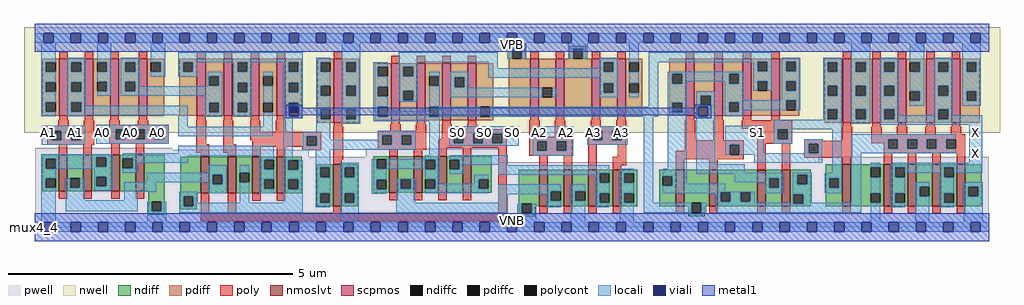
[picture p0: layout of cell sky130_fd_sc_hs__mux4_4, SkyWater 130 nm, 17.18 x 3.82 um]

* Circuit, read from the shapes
.subckt sky130_fd_sc_hs__mux4_4 A0 A1 A2 A3 S0 S1 VGND VNB VPB VPWR X
XM1 n1 A1 VGND VNB sky130_fd_pr__nfet_01v8_lvt w=0.64 l=0.15 m=2
XM2 n2 A0 VGND VNB sky130_fd_pr__nfet_01v8_lvt w=0.64 l=0.15 m=2
XM3 n1 S0 n3 VNB sky130_fd_pr__nfet_01v8_lvt w=0.64 l=0.15 m=2
XM4 n2 n4 n3 VNB sky130_fd_pr__nfet_01v8_lvt w=0.64 l=0.15 m=2
XM5 VGND S0 n4 VNB sky130_fd_pr__nfet_01v8_lvt w=0.74 l=0.15
XM6 n5 n4 n6 VNB sky130_fd_pr__nfet_01v8_lvt w=0.64 l=0.15 m=2
XM7 n7 S0 n6 VNB sky130_fd_pr__nfet_01v8_lvt w=0.64 l=0.15 m=2
XM8 n5 A2 VGND VNB sky130_fd_pr__nfet_01v8_lvt w=0.64 l=0.15 m=2
XM9 n7 A3 VGND VNB sky130_fd_pr__nfet_01v8_lvt w=0.64 l=0.15 m=2
XM10 n6 S1 n8 VNB sky130_fd_pr__nfet_01v8_lvt w=0.64 l=0.15 m=2
XM11 n3 n9 n8 VNB sky130_fd_pr__nfet_01v8_lvt w=0.64 l=0.15 m=2
XM12 VGND S1 n9 VNB sky130_fd_pr__nfet_01v8_lvt w=0.74 l=0.15
XM13 X n8 VGND VNB sky130_fd_pr__nfet_01v8_lvt w=0.74 l=0.15 m=4
XM14 n10 A1 VPWR VPB sky130_fd_pr__pfet_01v8 w=1 l=0.15 m=2
XM15 n11 A0 VPWR VPB sky130_fd_pr__pfet_01v8 w=1 l=0.15 m=2
XM16 n11 S0 n3 VPB sky130_fd_pr__pfet_01v8 w=1 l=0.15 m=2
XM17 n10 n4 n3 VPB sky130_fd_pr__pfet_01v8 w=1 l=0.15 m=2
XM18 VPWR S0 n4 VPB sky130_fd_pr__pfet_01v8 w=1.12 l=0.15
XM19 n12 n4 n6 VPB sky130_fd_pr__pfet_01v8 w=1 l=0.15 m=2
XM20 n13 S0 n6 VPB sky130_fd_pr__pfet_01v8 w=1 l=0.15 m=2
XM21 n13 A2 VPWR VPB sky130_fd_pr__pfet_01v8 w=1 l=0.15 m=2
XM22 n12 A3 VPWR VPB sky130_fd_pr__pfet_01v8 w=1 l=0.15 m=2
XM23 n3 S1 n8 VPB sky130_fd_pr__pfet_01v8 w=1 l=0.15 m=2
XM24 n6 n9 n8 VPB sky130_fd_pr__pfet_01v8 w=1 l=0.15 m=2
XM25 VPWR S1 n9 VPB sky130_fd_pr__pfet_01v8 w=1.12 l=0.15
XM26 X n8 VPWR VPB sky130_fd_pr__pfet_01v8 w=1.12 l=0.15 m=4
.ends

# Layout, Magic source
magic
tech sky130A
magscale 1 2
<< nwell >>
rect -38 332 3398 704
<< pwell >>
rect 1 273 484 280
rect 1 248 965 273
rect 1165 248 1635 275
rect 1 228 1635 248
rect 2759 228 3359 248
rect 1 49 3359 228
rect 0 0 3360 49
<< scpmos >>
rect 86 392 116 592
rect 176 392 206 592
rect 266 392 296 592
rect 366 392 396 592
rect 571 392 601 592
rect 666 392 696 592
rect 761 392 791 592
rect 851 392 881 592
rect 1053 368 1083 592
rect 1255 377 1285 577
rect 1345 377 1375 577
rect 1435 377 1465 577
rect 1525 377 1555 577
rect 1744 392 1774 592
rect 1834 392 1864 592
rect 1960 392 1990 592
rect 2050 392 2080 592
rect 2292 392 2322 592
rect 2392 392 2422 592
rect 2492 392 2522 592
rect 2592 392 2622 592
rect 2845 368 2875 592
rect 2948 368 2978 592
rect 3038 368 3068 592
rect 3138 368 3168 592
rect 3228 368 3258 592
<< nmoslvt >>
rect 84 126 114 254
rect 170 126 200 254
rect 269 126 299 254
rect 355 126 385 254
rect 585 119 615 247
rect 680 119 710 247
rect 766 119 796 247
rect 852 119 882 247
rect 1050 74 1080 222
rect 1248 121 1278 249
rect 1334 121 1364 249
rect 1420 121 1450 249
rect 1506 121 1536 249
rect 1776 74 1806 202
rect 1862 74 1892 202
rect 1948 74 1978 202
rect 2034 74 2064 202
rect 2256 74 2286 202
rect 2374 74 2404 202
rect 2544 74 2574 202
rect 2630 74 2660 202
rect 2842 74 2872 222
rect 2988 74 3018 222
rect 3074 74 3104 222
rect 3160 74 3190 222
rect 3246 74 3276 222
<< ndiff >>
rect 27 240 84 254
rect 27 206 39 240
rect 73 206 84 240
rect 27 172 84 206
rect 27 138 39 172
rect 73 138 84 172
rect 27 126 84 138
rect 114 172 170 254
rect 114 138 125 172
rect 159 138 170 172
rect 114 126 170 138
rect 200 246 269 254
rect 200 212 217 246
rect 251 212 269 246
rect 200 178 269 212
rect 200 144 217 178
rect 251 144 269 178
rect 200 126 269 144
rect 299 242 355 254
rect 299 208 310 242
rect 344 208 355 242
rect 299 126 355 208
rect 385 126 458 254
rect 400 90 458 126
rect 400 56 412 90
rect 446 56 458 90
rect 512 119 585 247
rect 615 185 680 247
rect 615 151 626 185
rect 660 151 680 185
rect 615 119 680 151
rect 710 191 766 247
rect 710 157 721 191
rect 755 157 766 191
rect 710 119 766 157
rect 796 237 852 247
rect 796 203 807 237
rect 841 203 852 237
rect 796 169 852 203
rect 796 135 807 169
rect 841 135 852 169
rect 796 119 852 135
rect 882 236 939 247
rect 882 202 893 236
rect 927 202 939 236
rect 1191 239 1248 249
rect 882 168 939 202
rect 882 134 893 168
rect 927 134 939 168
rect 882 119 939 134
rect 993 210 1050 222
rect 993 176 1005 210
rect 1039 176 1050 210
rect 993 120 1050 176
rect 512 108 570 119
rect 512 74 524 108
rect 558 74 570 108
rect 512 62 570 74
rect 400 44 458 56
rect 993 86 1005 120
rect 1039 86 1050 120
rect 993 74 1050 86
rect 1080 210 1137 222
rect 1080 176 1091 210
rect 1125 176 1137 210
rect 1080 120 1137 176
rect 1191 205 1203 239
rect 1237 205 1248 239
rect 1191 167 1248 205
rect 1191 133 1203 167
rect 1237 133 1248 167
rect 1191 121 1248 133
rect 1278 169 1334 249
rect 1278 135 1289 169
rect 1323 135 1334 169
rect 1278 121 1334 135
rect 1364 237 1420 249
rect 1364 203 1375 237
rect 1409 203 1420 237
rect 1364 169 1420 203
rect 1364 135 1375 169
rect 1409 135 1420 169
rect 1364 121 1420 135
rect 1450 237 1506 249
rect 1450 203 1461 237
rect 1495 203 1506 237
rect 1450 121 1506 203
rect 1536 169 1609 249
rect 1536 135 1563 169
rect 1597 135 1609 169
rect 1536 121 1609 135
rect 1080 86 1091 120
rect 1125 86 1137 120
rect 1080 74 1137 86
rect 1703 82 1776 202
rect 1703 48 1715 82
rect 1749 74 1776 82
rect 1806 127 1862 202
rect 1806 93 1817 127
rect 1851 93 1862 127
rect 1806 74 1862 93
rect 1892 127 1948 202
rect 1892 93 1903 127
rect 1937 93 1948 127
rect 1892 74 1948 93
rect 1978 190 2034 202
rect 1978 156 1989 190
rect 2023 156 2034 190
rect 1978 120 2034 156
rect 1978 86 1989 120
rect 2023 86 2034 120
rect 1978 74 2034 86
rect 2064 190 2121 202
rect 2064 156 2075 190
rect 2109 156 2121 190
rect 2064 120 2121 156
rect 2064 86 2075 120
rect 2109 86 2121 120
rect 2064 74 2121 86
rect 2199 179 2256 202
rect 2199 145 2211 179
rect 2245 145 2256 179
rect 2199 74 2256 145
rect 2286 85 2374 202
rect 2286 74 2313 85
rect 1749 48 1761 74
rect 2301 51 2313 74
rect 2347 74 2374 85
rect 2404 123 2544 202
rect 2404 89 2415 123
rect 2449 89 2485 123
rect 2519 89 2544 123
rect 2404 74 2544 89
rect 2574 172 2630 202
rect 2574 138 2585 172
rect 2619 138 2630 172
rect 2574 74 2630 138
rect 2660 184 2731 202
rect 2660 150 2685 184
rect 2719 150 2731 184
rect 2660 116 2731 150
rect 2660 82 2671 116
rect 2705 82 2731 116
rect 2660 74 2731 82
rect 2785 172 2842 222
rect 2785 138 2797 172
rect 2831 138 2842 172
rect 2785 74 2842 138
rect 2872 210 2988 222
rect 2872 176 2943 210
rect 2977 176 2988 210
rect 2872 120 2988 176
rect 2872 86 2943 120
rect 2977 86 2988 120
rect 2872 74 2988 86
rect 3018 210 3074 222
rect 3018 176 3029 210
rect 3063 176 3074 210
rect 3018 120 3074 176
rect 3018 86 3029 120
rect 3063 86 3074 120
rect 3018 74 3074 86
rect 3104 142 3160 222
rect 3104 108 3115 142
rect 3149 108 3160 142
rect 3104 74 3160 108
rect 3190 210 3246 222
rect 3190 176 3201 210
rect 3235 176 3246 210
rect 3190 120 3246 176
rect 3190 86 3201 120
rect 3235 86 3246 120
rect 3190 74 3246 86
rect 3276 142 3333 222
rect 3276 108 3287 142
rect 3321 108 3333 142
rect 3276 74 3333 108
rect 2347 51 2359 74
rect 1703 36 1761 48
rect 2301 39 2359 51
<< pdiff >>
rect 1668 627 1726 639
rect 27 580 86 592
rect 27 546 39 580
rect 73 546 86 580
rect 27 510 86 546
rect 27 476 39 510
rect 73 476 86 510
rect 27 440 86 476
rect 27 406 39 440
rect 73 406 86 440
rect 27 392 86 406
rect 116 580 176 592
rect 116 546 129 580
rect 163 546 176 580
rect 116 510 176 546
rect 116 476 129 510
rect 163 476 176 510
rect 116 440 176 476
rect 116 406 129 440
rect 163 406 176 440
rect 116 392 176 406
rect 206 580 266 592
rect 206 546 219 580
rect 253 546 266 580
rect 206 512 266 546
rect 206 478 219 512
rect 253 478 266 512
rect 206 392 266 478
rect 296 580 366 592
rect 296 546 319 580
rect 353 546 366 580
rect 296 512 366 546
rect 296 478 319 512
rect 353 478 366 512
rect 296 392 366 478
rect 396 580 455 592
rect 396 546 409 580
rect 443 546 455 580
rect 396 392 455 546
rect 509 580 571 592
rect 509 546 522 580
rect 556 546 571 580
rect 509 392 571 546
rect 601 531 666 592
rect 601 497 614 531
rect 648 497 666 531
rect 601 438 666 497
rect 601 404 614 438
rect 648 404 666 438
rect 601 392 666 404
rect 696 580 761 592
rect 696 546 714 580
rect 748 546 761 580
rect 696 509 761 546
rect 696 475 714 509
rect 748 475 761 509
rect 696 438 761 475
rect 696 404 714 438
rect 748 404 761 438
rect 696 392 761 404
rect 791 531 851 592
rect 791 497 804 531
rect 838 497 851 531
rect 791 438 851 497
rect 791 404 804 438
rect 838 404 851 438
rect 791 392 851 404
rect 881 580 940 592
rect 881 546 894 580
rect 928 546 940 580
rect 881 509 940 546
rect 881 475 894 509
rect 928 475 940 509
rect 881 438 940 475
rect 881 404 894 438
rect 928 404 940 438
rect 881 392 940 404
rect 994 580 1053 592
rect 994 546 1006 580
rect 1040 546 1053 580
rect 994 497 1053 546
rect 994 463 1006 497
rect 1040 463 1053 497
rect 994 414 1053 463
rect 994 380 1006 414
rect 1040 380 1053 414
rect 994 368 1053 380
rect 1083 580 1142 592
rect 1083 546 1096 580
rect 1130 546 1142 580
rect 1668 593 1680 627
rect 1714 593 1726 627
rect 1882 627 1942 639
rect 1668 592 1726 593
rect 1882 593 1895 627
rect 1929 593 1942 627
rect 1882 592 1942 593
rect 1083 497 1142 546
rect 1083 463 1096 497
rect 1130 463 1142 497
rect 1083 414 1142 463
rect 1083 380 1096 414
rect 1130 380 1142 414
rect 1083 368 1142 380
rect 1196 565 1255 577
rect 1196 531 1208 565
rect 1242 531 1255 565
rect 1196 494 1255 531
rect 1196 460 1208 494
rect 1242 460 1255 494
rect 1196 423 1255 460
rect 1196 389 1208 423
rect 1242 389 1255 423
rect 1196 377 1255 389
rect 1285 565 1345 577
rect 1285 531 1298 565
rect 1332 531 1345 565
rect 1285 480 1345 531
rect 1285 446 1298 480
rect 1332 446 1345 480
rect 1285 377 1345 446
rect 1375 531 1435 577
rect 1375 497 1388 531
rect 1422 497 1435 531
rect 1375 423 1435 497
rect 1375 389 1388 423
rect 1422 389 1435 423
rect 1375 377 1435 389
rect 1465 527 1525 577
rect 1465 493 1478 527
rect 1512 493 1525 527
rect 1465 377 1525 493
rect 1555 423 1614 577
rect 1555 389 1568 423
rect 1602 389 1614 423
rect 1668 392 1744 592
rect 1774 491 1834 592
rect 1774 457 1787 491
rect 1821 457 1834 491
rect 1774 392 1834 457
rect 1864 392 1960 592
rect 1990 580 2050 592
rect 1990 546 2003 580
rect 2037 546 2050 580
rect 1990 507 2050 546
rect 1990 473 2003 507
rect 2037 473 2050 507
rect 1990 392 2050 473
rect 2080 580 2139 592
rect 2080 546 2093 580
rect 2127 546 2139 580
rect 2080 507 2139 546
rect 2080 473 2093 507
rect 2127 473 2139 507
rect 2080 392 2139 473
rect 2233 539 2292 592
rect 2233 505 2245 539
rect 2279 505 2292 539
rect 2233 438 2292 505
rect 2233 404 2245 438
rect 2279 404 2292 438
rect 2233 392 2292 404
rect 2322 463 2392 592
rect 2322 429 2345 463
rect 2379 429 2392 463
rect 2322 392 2392 429
rect 2422 539 2492 592
rect 2422 505 2445 539
rect 2479 505 2492 539
rect 2422 440 2492 505
rect 2422 406 2445 440
rect 2479 406 2492 440
rect 2422 392 2492 406
rect 2522 582 2592 592
rect 2522 548 2545 582
rect 2579 548 2592 582
rect 2522 514 2592 548
rect 2522 480 2545 514
rect 2579 480 2592 514
rect 2522 392 2592 480
rect 2622 582 2691 592
rect 2622 548 2645 582
rect 2679 548 2691 582
rect 2622 514 2691 548
rect 2622 480 2645 514
rect 2679 480 2691 514
rect 2622 446 2691 480
rect 2622 412 2645 446
rect 2679 412 2691 446
rect 2622 392 2691 412
rect 2779 580 2845 592
rect 2779 546 2791 580
rect 2825 546 2845 580
rect 2779 497 2845 546
rect 2779 463 2791 497
rect 2825 463 2845 497
rect 2779 414 2845 463
rect 1555 377 1614 389
rect 2779 380 2791 414
rect 2825 380 2845 414
rect 2779 368 2845 380
rect 2875 580 2948 592
rect 2875 546 2891 580
rect 2925 546 2948 580
rect 2875 497 2948 546
rect 2875 463 2891 497
rect 2925 463 2948 497
rect 2875 414 2948 463
rect 2875 380 2891 414
rect 2925 380 2948 414
rect 2875 368 2948 380
rect 2978 580 3038 592
rect 2978 546 2991 580
rect 3025 546 3038 580
rect 2978 497 3038 546
rect 2978 463 2991 497
rect 3025 463 3038 497
rect 2978 414 3038 463
rect 2978 380 2991 414
rect 3025 380 3038 414
rect 2978 368 3038 380
rect 3068 580 3138 592
rect 3068 546 3081 580
rect 3115 546 3138 580
rect 3068 478 3138 546
rect 3068 444 3081 478
rect 3115 444 3138 478
rect 3068 368 3138 444
rect 3168 580 3228 592
rect 3168 546 3181 580
rect 3215 546 3228 580
rect 3168 497 3228 546
rect 3168 463 3181 497
rect 3215 463 3228 497
rect 3168 414 3228 463
rect 3168 380 3181 414
rect 3215 380 3228 414
rect 3168 368 3228 380
rect 3258 580 3327 592
rect 3258 546 3281 580
rect 3315 546 3327 580
rect 3258 478 3327 546
rect 3258 444 3281 478
rect 3315 444 3327 478
rect 3258 368 3327 444
<< ndiffc >>
rect 39 206 73 240
rect 39 138 73 172
rect 125 138 159 172
rect 217 212 251 246
rect 217 144 251 178
rect 310 208 344 242
rect 412 56 446 90
rect 626 151 660 185
rect 721 157 755 191
rect 807 203 841 237
rect 807 135 841 169
rect 893 202 927 236
rect 893 134 927 168
rect 1005 176 1039 210
rect 524 74 558 108
rect 1005 86 1039 120
rect 1091 176 1125 210
rect 1203 205 1237 239
rect 1203 133 1237 167
rect 1289 135 1323 169
rect 1375 203 1409 237
rect 1375 135 1409 169
rect 1461 203 1495 237
rect 1563 135 1597 169
rect 1091 86 1125 120
rect 1715 48 1749 82
rect 1817 93 1851 127
rect 1903 93 1937 127
rect 1989 156 2023 190
rect 1989 86 2023 120
rect 2075 156 2109 190
rect 2075 86 2109 120
rect 2211 145 2245 179
rect 2313 51 2347 85
rect 2415 89 2449 123
rect 2485 89 2519 123
rect 2585 138 2619 172
rect 2685 150 2719 184
rect 2671 82 2705 116
rect 2797 138 2831 172
rect 2943 176 2977 210
rect 2943 86 2977 120
rect 3029 176 3063 210
rect 3029 86 3063 120
rect 3115 108 3149 142
rect 3201 176 3235 210
rect 3201 86 3235 120
rect 3287 108 3321 142
<< pdiffc >>
rect 39 546 73 580
rect 39 476 73 510
rect 39 406 73 440
rect 129 546 163 580
rect 129 476 163 510
rect 129 406 163 440
rect 219 546 253 580
rect 219 478 253 512
rect 319 546 353 580
rect 319 478 353 512
rect 409 546 443 580
rect 522 546 556 580
rect 614 497 648 531
rect 614 404 648 438
rect 714 546 748 580
rect 714 475 748 509
rect 714 404 748 438
rect 804 497 838 531
rect 804 404 838 438
rect 894 546 928 580
rect 894 475 928 509
rect 894 404 928 438
rect 1006 546 1040 580
rect 1006 463 1040 497
rect 1006 380 1040 414
rect 1096 546 1130 580
rect 1680 593 1714 627
rect 1895 593 1929 627
rect 1096 463 1130 497
rect 1096 380 1130 414
rect 1208 531 1242 565
rect 1208 460 1242 494
rect 1208 389 1242 423
rect 1298 531 1332 565
rect 1298 446 1332 480
rect 1388 497 1422 531
rect 1388 389 1422 423
rect 1478 493 1512 527
rect 1568 389 1602 423
rect 1787 457 1821 491
rect 2003 546 2037 580
rect 2003 473 2037 507
rect 2093 546 2127 580
rect 2093 473 2127 507
rect 2245 505 2279 539
rect 2245 404 2279 438
rect 2345 429 2379 463
rect 2445 505 2479 539
rect 2445 406 2479 440
rect 2545 548 2579 582
rect 2545 480 2579 514
rect 2645 548 2679 582
rect 2645 480 2679 514
rect 2645 412 2679 446
rect 2791 546 2825 580
rect 2791 463 2825 497
rect 2791 380 2825 414
rect 2891 546 2925 580
rect 2891 463 2925 497
rect 2891 380 2925 414
rect 2991 546 3025 580
rect 2991 463 3025 497
rect 2991 380 3025 414
rect 3081 546 3115 580
rect 3081 444 3115 478
rect 3181 546 3215 580
rect 3181 463 3215 497
rect 3181 380 3215 414
rect 3281 546 3315 580
rect 3281 444 3315 478
<< poly >>
rect 86 592 116 618
rect 176 592 206 618
rect 266 592 296 618
rect 366 592 396 618
rect 571 592 601 618
rect 666 592 696 618
rect 761 592 791 618
rect 851 592 881 618
rect 1053 592 1083 618
rect 86 377 116 392
rect 176 377 206 392
rect 266 377 296 392
rect 366 377 396 392
rect 571 377 601 392
rect 666 377 696 392
rect 761 377 791 392
rect 851 377 881 392
rect 83 356 119 377
rect 173 356 209 377
rect 44 340 209 356
rect 44 306 60 340
rect 94 306 128 340
rect 162 306 209 340
rect 44 290 209 306
rect 263 360 299 377
rect 363 360 399 377
rect 263 344 471 360
rect 263 310 285 344
rect 319 310 353 344
rect 387 310 421 344
rect 455 310 471 344
rect 263 294 471 310
rect 84 254 114 290
rect 170 254 200 290
rect 269 254 299 294
rect 355 254 385 294
rect 568 292 604 377
rect 663 292 699 377
rect 758 336 794 377
rect 848 336 884 377
rect 1255 577 1285 603
rect 1345 577 1375 603
rect 1435 577 1465 603
rect 1525 577 1555 603
rect 1744 592 1774 618
rect 1834 592 1864 618
rect 1960 592 1990 618
rect 2050 592 2080 618
rect 2292 592 2322 618
rect 2392 592 2422 618
rect 2492 592 2522 618
rect 2592 592 2622 618
rect 2845 592 2875 618
rect 2948 592 2978 618
rect 3038 592 3068 618
rect 3138 592 3168 618
rect 3228 592 3258 618
rect 1744 377 1774 392
rect 1834 377 1864 392
rect 1960 377 1990 392
rect 2050 377 2080 392
rect 2292 377 2322 392
rect 2392 377 2422 392
rect 2492 377 2522 392
rect 2592 377 2622 392
rect 1053 353 1083 368
rect 1255 362 1285 377
rect 1345 362 1375 377
rect 1435 362 1465 377
rect 1525 362 1555 377
rect 758 320 1008 336
rect 758 306 958 320
rect 568 262 615 292
rect 663 262 710 292
rect 585 247 615 262
rect 680 247 710 262
rect 766 286 958 306
rect 992 286 1008 320
rect 766 283 1008 286
rect 766 247 796 283
rect 852 247 882 283
rect 942 270 1008 283
rect 84 100 114 126
rect 170 100 200 126
rect 269 100 299 126
rect 355 100 385 126
rect 1050 237 1086 353
rect 1252 339 1288 362
rect 1342 339 1378 362
rect 1207 323 1378 339
rect 1207 289 1223 323
rect 1257 289 1291 323
rect 1325 289 1378 323
rect 1432 345 1468 362
rect 1522 345 1558 362
rect 1432 329 1661 345
rect 1432 309 1475 329
rect 1207 273 1378 289
rect 1420 295 1475 309
rect 1509 295 1543 329
rect 1577 295 1611 329
rect 1645 295 1661 329
rect 1420 279 1661 295
rect 1248 249 1278 273
rect 1334 249 1364 273
rect 1420 249 1450 279
rect 1506 249 1536 279
rect 1050 222 1080 237
rect 585 51 615 119
rect 680 51 710 119
rect 766 93 796 119
rect 852 93 882 119
rect 1248 95 1278 121
rect 1334 95 1364 121
rect 1420 95 1450 121
rect 1506 95 1536 121
rect 1050 51 1080 74
rect 1631 51 1661 279
rect 1741 318 1777 377
rect 1831 318 1867 377
rect 1957 355 1993 377
rect 2047 355 2083 377
rect 1948 339 2083 355
rect 1741 302 1892 318
rect 1741 268 1769 302
rect 1803 268 1837 302
rect 1871 268 1892 302
rect 1741 252 1892 268
rect 1776 202 1806 252
rect 1862 202 1892 252
rect 1948 305 1964 339
rect 1998 305 2032 339
rect 2066 319 2083 339
rect 2066 305 2082 319
rect 1948 289 2082 305
rect 1948 202 1978 289
rect 2052 247 2082 289
rect 2289 305 2325 377
rect 2389 305 2425 377
rect 2489 347 2666 377
rect 2845 353 2875 368
rect 2948 353 2978 368
rect 3038 353 3068 368
rect 3138 353 3168 368
rect 3228 353 3258 368
rect 2544 344 2666 347
rect 2544 310 2616 344
rect 2650 310 2666 344
rect 2289 289 2496 305
rect 2289 269 2446 289
rect 2034 217 2082 247
rect 2256 255 2446 269
rect 2480 255 2496 289
rect 2256 239 2496 255
rect 2544 294 2666 310
rect 2708 304 2774 310
rect 2842 304 2878 353
rect 2708 294 2878 304
rect 2945 326 2981 353
rect 3035 326 3071 353
rect 3135 326 3171 353
rect 3225 326 3261 353
rect 2945 310 3276 326
rect 2945 296 3004 310
rect 2034 202 2064 217
rect 2256 202 2286 239
rect 2374 202 2404 239
rect 2544 202 2574 294
rect 2630 202 2660 294
rect 2708 260 2724 294
rect 2758 260 2878 294
rect 2708 244 2878 260
rect 2988 276 3004 296
rect 3038 276 3072 310
rect 3106 276 3140 310
rect 3174 276 3208 310
rect 3242 276 3276 310
rect 2988 260 3276 276
rect 2842 222 2872 244
rect 2988 222 3018 260
rect 3074 222 3104 260
rect 3160 222 3190 260
rect 3246 222 3276 260
rect 585 21 1661 51
rect 1776 48 1806 74
rect 1862 48 1892 74
rect 1948 48 1978 74
rect 2034 48 2064 74
rect 2256 48 2286 74
rect 2374 48 2404 74
rect 2544 48 2574 74
rect 2630 48 2660 74
rect 2842 48 2872 74
rect 2988 48 3018 74
rect 3074 48 3104 74
rect 3160 48 3190 74
rect 3246 48 3276 74
<< polycont >>
rect 60 306 94 340
rect 128 306 162 340
rect 285 310 319 344
rect 353 310 387 344
rect 421 310 455 344
rect 958 286 992 320
rect 1223 289 1257 323
rect 1291 289 1325 323
rect 1475 295 1509 329
rect 1543 295 1577 329
rect 1611 295 1645 329
rect 1769 268 1803 302
rect 1837 268 1871 302
rect 1964 305 1998 339
rect 2032 305 2066 339
rect 2616 310 2650 344
rect 2446 255 2480 289
rect 2724 260 2758 294
rect 3004 276 3038 310
rect 3072 276 3106 310
rect 3140 276 3174 310
rect 3208 276 3242 310
<< locali >>
rect 0 649 31 683
rect 65 649 127 683
rect 161 649 223 683
rect 257 649 319 683
rect 353 649 415 683
rect 449 649 511 683
rect 545 649 607 683
rect 641 649 703 683
rect 737 649 799 683
rect 833 649 895 683
rect 929 649 991 683
rect 1025 649 1087 683
rect 1121 649 1183 683
rect 1217 649 1279 683
rect 1313 649 1375 683
rect 1409 649 1471 683
rect 1505 649 1567 683
rect 1601 649 1663 683
rect 1697 649 1759 683
rect 1793 649 1855 683
rect 1889 649 1951 683
rect 1985 649 2047 683
rect 2081 649 2143 683
rect 2177 649 2239 683
rect 2273 649 2335 683
rect 2369 649 2431 683
rect 2465 649 2527 683
rect 2561 649 2623 683
rect 2657 649 2719 683
rect 2753 649 2815 683
rect 2849 649 2911 683
rect 2945 649 3007 683
rect 3041 649 3103 683
rect 3137 649 3199 683
rect 3233 649 3295 683
rect 3329 649 3360 683
rect 23 580 73 649
rect 23 546 39 580
rect 23 510 73 546
rect 23 476 39 510
rect 23 440 73 476
rect 23 406 39 440
rect 23 390 73 406
rect 113 580 179 596
rect 113 546 129 580
rect 163 546 179 580
rect 113 510 179 546
rect 113 476 129 510
rect 163 476 179 510
rect 113 440 179 476
rect 219 580 269 649
rect 253 546 269 580
rect 219 512 269 546
rect 253 478 269 512
rect 219 462 269 478
rect 303 580 369 596
rect 303 546 319 580
rect 353 546 369 580
rect 303 512 369 546
rect 409 580 459 649
rect 443 546 459 580
rect 409 530 459 546
rect 505 581 944 615
rect 505 580 572 581
rect 505 546 522 580
rect 556 546 572 580
rect 698 580 764 581
rect 505 530 572 546
rect 609 531 660 547
rect 303 478 319 512
rect 353 496 369 512
rect 609 497 614 531
rect 648 497 660 531
rect 609 496 660 497
rect 353 478 660 496
rect 303 462 660 478
rect 113 406 129 440
rect 163 428 179 440
rect 598 438 660 462
rect 163 406 539 428
rect 113 394 539 406
rect 113 390 179 394
rect 25 340 178 356
rect 25 306 60 340
rect 94 306 128 340
rect 162 306 178 340
rect 25 290 178 306
rect 217 344 471 360
rect 217 310 285 344
rect 319 310 353 344
rect 387 310 421 344
rect 455 310 471 344
rect 505 354 539 394
rect 598 404 614 438
rect 648 404 660 438
rect 598 388 660 404
rect 698 546 714 580
rect 748 546 764 580
rect 875 580 944 581
rect 698 509 764 546
rect 698 475 714 509
rect 748 475 764 509
rect 698 438 764 475
rect 698 404 714 438
rect 748 404 764 438
rect 698 388 764 404
rect 804 531 838 547
rect 804 438 838 497
rect 804 354 838 404
rect 505 320 838 354
rect 875 546 894 580
rect 928 546 944 580
rect 875 509 944 546
rect 875 475 894 509
rect 928 475 944 509
rect 875 438 944 475
rect 875 404 894 438
rect 928 424 944 438
rect 875 390 895 404
rect 929 390 944 424
rect 875 384 944 390
rect 990 580 1040 596
rect 990 546 1006 580
rect 990 497 1040 546
rect 990 463 1006 497
rect 990 414 1040 463
rect 217 294 471 310
rect 505 260 841 286
rect 23 246 274 256
rect 23 240 217 246
rect 23 206 39 240
rect 73 212 217 240
rect 251 212 274 246
rect 73 206 274 212
rect 23 172 73 206
rect 209 178 274 206
rect 310 252 841 260
rect 310 242 539 252
rect 344 226 539 242
rect 791 237 841 252
rect 344 208 360 226
rect 310 192 360 208
rect 610 192 676 218
rect 23 138 39 172
rect 23 17 73 138
rect 109 138 125 172
rect 159 138 175 172
rect 109 94 175 138
rect 209 144 217 178
rect 251 144 274 178
rect 394 185 676 192
rect 394 158 626 185
rect 209 128 274 144
rect 315 124 428 158
rect 610 151 626 158
rect 660 151 676 185
rect 315 94 362 124
rect 109 55 362 94
rect 508 108 574 124
rect 610 119 676 151
rect 721 191 755 218
rect 396 56 412 90
rect 446 56 462 90
rect 396 17 462 56
rect 508 74 524 108
rect 558 85 574 108
rect 721 85 755 157
rect 791 203 807 237
rect 791 169 841 203
rect 791 135 807 169
rect 791 119 841 135
rect 875 236 909 384
rect 990 380 1006 414
rect 990 336 1040 380
rect 1080 580 1146 649
rect 1664 627 1730 649
rect 1282 581 1630 615
rect 1664 593 1680 627
rect 1714 593 1730 627
rect 1878 627 1946 649
rect 1878 593 1895 627
rect 1929 593 1946 627
rect 1080 546 1096 580
rect 1130 546 1146 580
rect 1080 497 1146 546
rect 1080 463 1096 497
rect 1130 463 1146 497
rect 1080 414 1146 463
rect 1080 380 1096 414
rect 1130 380 1146 414
rect 1080 364 1146 380
rect 1192 565 1242 581
rect 1192 531 1208 565
rect 1192 494 1242 531
rect 1192 460 1208 494
rect 1192 423 1242 460
rect 1282 565 1348 581
rect 1282 531 1298 565
rect 1332 531 1348 565
rect 1596 559 1630 581
rect 1987 580 2053 596
rect 1987 559 2003 580
rect 1282 480 1348 531
rect 1282 446 1298 480
rect 1332 446 1348 480
rect 1282 441 1348 446
rect 1388 531 1425 547
rect 1422 497 1425 531
rect 1192 389 1208 423
rect 1388 423 1425 497
rect 1462 527 1528 547
rect 1462 493 1478 527
rect 1512 493 1528 527
rect 1596 546 2003 559
rect 2037 546 2053 580
rect 1596 525 2053 546
rect 1462 491 1528 493
rect 1987 507 2053 525
rect 1462 457 1787 491
rect 1821 457 1837 491
rect 1987 473 2003 507
rect 2037 473 2053 507
rect 1987 457 2053 473
rect 2093 580 2127 649
rect 2093 507 2127 546
rect 2093 457 2127 473
rect 2161 582 2595 615
rect 2161 581 2545 582
rect 2161 423 2195 581
rect 2529 548 2545 581
rect 2579 548 2595 582
rect 1242 389 1388 407
rect 1422 389 1568 423
rect 1602 389 2195 423
rect 2229 539 2495 547
rect 2229 505 2245 539
rect 2279 513 2445 539
rect 2279 505 2295 513
rect 2229 438 2295 505
rect 2429 505 2445 513
rect 2479 505 2495 539
rect 2229 404 2245 438
rect 2279 404 2295 438
rect 1192 373 1425 389
rect 943 320 1040 336
rect 943 286 958 320
rect 992 307 1040 320
rect 1207 323 1341 339
rect 1207 307 1223 323
rect 992 289 1223 307
rect 1257 289 1291 323
rect 1325 289 1341 323
rect 992 286 1341 289
rect 943 273 1341 286
rect 943 270 1040 273
rect 875 202 893 236
rect 927 202 943 236
rect 875 168 943 202
rect 875 134 893 168
rect 927 134 943 168
rect 875 85 943 134
rect 558 74 943 85
rect 508 51 943 74
rect 989 210 1040 270
rect 1388 253 1425 373
rect 1459 329 1703 355
rect 1459 295 1475 329
rect 1509 295 1543 329
rect 1577 295 1611 329
rect 1645 295 1703 329
rect 1459 287 1703 295
rect 1753 302 1895 355
rect 1753 268 1769 302
rect 1803 268 1837 302
rect 1871 268 1895 302
rect 1945 339 2087 355
rect 1945 305 1964 339
rect 1998 305 2032 339
rect 2066 305 2087 339
rect 1945 289 2087 305
rect 1375 239 1425 253
rect 989 176 1005 210
rect 1039 176 1040 210
rect 989 120 1040 176
rect 989 86 1005 120
rect 1039 86 1040 120
rect 989 70 1040 86
rect 1075 210 1141 226
rect 1075 176 1091 210
rect 1125 176 1141 210
rect 1075 120 1141 176
rect 1075 86 1091 120
rect 1125 86 1141 120
rect 1187 205 1203 239
rect 1237 237 1425 239
rect 1237 205 1375 237
rect 1187 167 1237 205
rect 1409 203 1425 237
rect 1187 133 1203 167
rect 1187 117 1237 133
rect 1273 169 1339 171
rect 1273 135 1289 169
rect 1323 135 1339 169
rect 1075 17 1141 86
rect 1273 85 1339 135
rect 1375 169 1425 203
rect 1461 237 1665 253
rect 1753 252 1895 268
rect 1495 219 1665 237
rect 1495 203 1511 219
rect 1461 187 1511 203
rect 1631 218 1665 219
rect 1631 190 2023 218
rect 1409 153 1425 169
rect 1547 169 1597 185
rect 1631 184 1989 190
rect 1547 153 1563 169
rect 1409 135 1563 153
rect 1973 156 1989 184
rect 1375 119 1597 135
rect 1631 127 1851 150
rect 1631 116 1817 127
rect 1631 85 1665 116
rect 1273 51 1665 85
rect 1801 93 1817 116
rect 1699 48 1715 82
rect 1749 48 1765 82
rect 1801 70 1851 93
rect 1887 127 1937 150
rect 1887 93 1903 127
rect 1699 17 1765 48
rect 1887 17 1937 93
rect 1973 120 2023 156
rect 1973 86 1989 120
rect 1973 70 2023 86
rect 2059 190 2109 206
rect 2059 156 2075 190
rect 2059 120 2109 156
rect 2059 86 2075 120
rect 2059 17 2109 86
rect 2143 85 2177 389
rect 2229 206 2295 404
rect 2211 179 2295 206
rect 2329 463 2395 479
rect 2329 429 2345 463
rect 2379 429 2395 463
rect 2329 424 2395 429
rect 2329 390 2335 424
rect 2369 390 2395 424
rect 2429 446 2495 505
rect 2529 514 2595 548
rect 2529 480 2545 514
rect 2579 480 2595 514
rect 2629 582 2695 596
rect 2629 548 2645 582
rect 2679 548 2695 582
rect 2629 514 2695 548
rect 2629 480 2645 514
rect 2679 480 2695 514
rect 2629 446 2695 480
rect 2429 440 2645 446
rect 2429 406 2445 440
rect 2479 412 2645 440
rect 2679 412 2695 446
rect 2775 580 2841 596
rect 2775 546 2791 580
rect 2825 546 2841 580
rect 2775 497 2841 546
rect 2775 463 2791 497
rect 2825 463 2841 497
rect 2775 414 2841 463
rect 2479 406 2495 412
rect 2429 390 2495 406
rect 2329 221 2395 390
rect 2775 380 2791 414
rect 2825 380 2841 414
rect 2775 378 2841 380
rect 2430 289 2567 356
rect 2601 344 2841 378
rect 2875 580 2941 649
rect 2875 546 2891 580
rect 2925 546 2941 580
rect 2875 497 2941 546
rect 2875 463 2891 497
rect 2925 463 2941 497
rect 2875 414 2941 463
rect 2875 380 2891 414
rect 2925 380 2941 414
rect 2875 364 2941 380
rect 2975 580 3041 596
rect 2975 546 2991 580
rect 3025 546 3041 580
rect 2975 497 3041 546
rect 2975 463 2991 497
rect 3025 463 3041 497
rect 2975 414 3041 463
rect 3081 580 3131 649
rect 3115 546 3131 580
rect 3081 478 3131 546
rect 3115 444 3131 478
rect 3081 428 3131 444
rect 3165 580 3231 596
rect 3165 546 3181 580
rect 3215 546 3231 580
rect 3165 497 3231 546
rect 3165 463 3181 497
rect 3215 463 3231 497
rect 2975 380 2991 414
rect 3025 394 3041 414
rect 3165 414 3231 463
rect 3265 580 3331 649
rect 3265 546 3281 580
rect 3315 546 3331 580
rect 3265 478 3331 546
rect 3265 444 3281 478
rect 3315 444 3331 478
rect 3265 428 3331 444
rect 3165 394 3181 414
rect 3025 380 3181 394
rect 3215 394 3231 414
rect 3215 380 3335 394
rect 2975 360 3335 380
rect 2601 310 2616 344
rect 2650 310 2666 344
rect 2601 294 2666 310
rect 2708 294 2773 310
rect 2430 255 2446 289
rect 2480 260 2567 289
rect 2708 260 2724 294
rect 2758 260 2773 294
rect 2480 255 2773 260
rect 2533 226 2773 255
rect 2329 192 2499 221
rect 2807 192 2841 344
rect 2329 187 2635 192
rect 2245 153 2295 179
rect 2465 172 2635 187
rect 2465 158 2585 172
rect 2245 145 2431 153
rect 2211 124 2431 145
rect 2572 138 2585 158
rect 2619 138 2635 172
rect 2211 123 2535 124
rect 2211 119 2415 123
rect 2397 89 2415 119
rect 2449 89 2485 123
rect 2519 89 2535 123
rect 2572 119 2635 138
rect 2669 184 2735 192
rect 2669 150 2685 184
rect 2719 150 2735 184
rect 2397 85 2535 89
rect 2669 116 2735 150
rect 2781 172 2841 192
rect 2781 138 2797 172
rect 2831 138 2841 172
rect 2781 119 2841 138
rect 2875 310 3242 326
rect 2875 276 3004 310
rect 3038 276 3072 310
rect 3106 276 3140 310
rect 3174 276 3208 310
rect 2875 260 3242 276
rect 2669 85 2671 116
rect 2143 51 2313 85
rect 2347 51 2363 85
rect 2397 82 2671 85
rect 2705 85 2735 116
rect 2875 85 2909 260
rect 3289 226 3335 360
rect 2705 82 2909 85
rect 2397 51 2909 82
rect 2943 210 2977 226
rect 2943 120 2977 176
rect 2943 17 2977 86
rect 3013 210 3335 226
rect 3013 176 3029 210
rect 3063 192 3201 210
rect 3013 120 3063 176
rect 3185 176 3201 192
rect 3235 192 3335 210
rect 3013 86 3029 120
rect 3013 70 3063 86
rect 3099 142 3149 158
rect 3099 108 3115 142
rect 3099 17 3149 108
rect 3185 120 3235 176
rect 3185 86 3201 120
rect 3185 70 3235 86
rect 3271 142 3337 158
rect 3271 108 3287 142
rect 3321 108 3337 142
rect 3271 17 3337 108
rect 0 -17 31 17
rect 65 -17 127 17
rect 161 -17 223 17
rect 257 -17 319 17
rect 353 -17 415 17
rect 449 -17 511 17
rect 545 -17 607 17
rect 641 -17 703 17
rect 737 -17 799 17
rect 833 -17 895 17
rect 929 -17 991 17
rect 1025 -17 1087 17
rect 1121 -17 1183 17
rect 1217 -17 1279 17
rect 1313 -17 1375 17
rect 1409 -17 1471 17
rect 1505 -17 1567 17
rect 1601 -17 1663 17
rect 1697 -17 1759 17
rect 1793 -17 1855 17
rect 1889 -17 1951 17
rect 1985 -17 2047 17
rect 2081 -17 2143 17
rect 2177 -17 2239 17
rect 2273 -17 2335 17
rect 2369 -17 2431 17
rect 2465 -17 2527 17
rect 2561 -17 2623 17
rect 2657 -17 2719 17
rect 2753 -17 2815 17
rect 2849 -17 2911 17
rect 2945 -17 3007 17
rect 3041 -17 3103 17
rect 3137 -17 3199 17
rect 3233 -17 3295 17
rect 3329 -17 3360 17
<< viali >>
rect 31 649 65 683
rect 127 649 161 683
rect 223 649 257 683
rect 319 649 353 683
rect 415 649 449 683
rect 511 649 545 683
rect 607 649 641 683
rect 703 649 737 683
rect 799 649 833 683
rect 895 649 929 683
rect 991 649 1025 683
rect 1087 649 1121 683
rect 1183 649 1217 683
rect 1279 649 1313 683
rect 1375 649 1409 683
rect 1471 649 1505 683
rect 1567 649 1601 683
rect 1663 649 1697 683
rect 1759 649 1793 683
rect 1855 649 1889 683
rect 1951 649 1985 683
rect 2047 649 2081 683
rect 2143 649 2177 683
rect 2239 649 2273 683
rect 2335 649 2369 683
rect 2431 649 2465 683
rect 2527 649 2561 683
rect 2623 649 2657 683
rect 2719 649 2753 683
rect 2815 649 2849 683
rect 2911 649 2945 683
rect 3007 649 3041 683
rect 3103 649 3137 683
rect 3199 649 3233 683
rect 3295 649 3329 683
rect 895 404 928 424
rect 928 404 929 424
rect 895 390 929 404
rect 2335 390 2369 424
rect 31 -17 65 17
rect 127 -17 161 17
rect 223 -17 257 17
rect 319 -17 353 17
rect 415 -17 449 17
rect 511 -17 545 17
rect 607 -17 641 17
rect 703 -17 737 17
rect 799 -17 833 17
rect 895 -17 929 17
rect 991 -17 1025 17
rect 1087 -17 1121 17
rect 1183 -17 1217 17
rect 1279 -17 1313 17
rect 1375 -17 1409 17
rect 1471 -17 1505 17
rect 1567 -17 1601 17
rect 1663 -17 1697 17
rect 1759 -17 1793 17
rect 1855 -17 1889 17
rect 1951 -17 1985 17
rect 2047 -17 2081 17
rect 2143 -17 2177 17
rect 2239 -17 2273 17
rect 2335 -17 2369 17
rect 2431 -17 2465 17
rect 2527 -17 2561 17
rect 2623 -17 2657 17
rect 2719 -17 2753 17
rect 2815 -17 2849 17
rect 2911 -17 2945 17
rect 3007 -17 3041 17
rect 3103 -17 3137 17
rect 3199 -17 3233 17
rect 3295 -17 3329 17
<< metal1 >>
rect 0 683 3360 715
rect 0 649 31 683
rect 65 649 127 683
rect 161 649 223 683
rect 257 649 319 683
rect 353 649 415 683
rect 449 649 511 683
rect 545 649 607 683
rect 641 649 703 683
rect 737 649 799 683
rect 833 649 895 683
rect 929 649 991 683
rect 1025 649 1087 683
rect 1121 649 1183 683
rect 1217 649 1279 683
rect 1313 649 1375 683
rect 1409 649 1471 683
rect 1505 649 1567 683
rect 1601 649 1663 683
rect 1697 649 1759 683
rect 1793 649 1855 683
rect 1889 649 1951 683
rect 1985 649 2047 683
rect 2081 649 2143 683
rect 2177 649 2239 683
rect 2273 649 2335 683
rect 2369 649 2431 683
rect 2465 649 2527 683
rect 2561 649 2623 683
rect 2657 649 2719 683
rect 2753 649 2815 683
rect 2849 649 2911 683
rect 2945 649 3007 683
rect 3041 649 3103 683
rect 3137 649 3199 683
rect 3233 649 3295 683
rect 3329 649 3360 683
rect 0 617 3360 649
rect 883 424 941 430
rect 883 390 895 424
rect 929 421 941 424
rect 2323 424 2381 430
rect 2323 421 2335 424
rect 929 393 2335 421
rect 929 390 941 393
rect 883 384 941 390
rect 2323 390 2335 393
rect 2369 390 2381 424
rect 2323 384 2381 390
rect 0 17 3360 49
rect 0 -17 31 17
rect 65 -17 127 17
rect 161 -17 223 17
rect 257 -17 319 17
rect 353 -17 415 17
rect 449 -17 511 17
rect 545 -17 607 17
rect 641 -17 703 17
rect 737 -17 799 17
rect 833 -17 895 17
rect 929 -17 991 17
rect 1025 -17 1087 17
rect 1121 -17 1183 17
rect 1217 -17 1279 17
rect 1313 -17 1375 17
rect 1409 -17 1471 17
rect 1505 -17 1567 17
rect 1601 -17 1663 17
rect 1697 -17 1759 17
rect 1793 -17 1855 17
rect 1889 -17 1951 17
rect 1985 -17 2047 17
rect 2081 -17 2143 17
rect 2177 -17 2239 17
rect 2273 -17 2335 17
rect 2369 -17 2431 17
rect 2465 -17 2527 17
rect 2561 -17 2623 17
rect 2657 -17 2719 17
rect 2753 -17 2815 17
rect 2849 -17 2911 17
rect 2945 -17 3007 17
rect 3041 -17 3103 17
rect 3137 -17 3199 17
rect 3233 -17 3295 17
rect 3329 -17 3360 17
rect 0 -49 3360 -17
<< labels >>
rlabel comment s 0 0 0 0 4 mux4_4
flabel pwell s 0 0 3360 49 0 FreeSans 200 0 0 0 VNB
port 8 nsew ground bidirectional
flabel nwell s 0 617 3360 666 0 FreeSans 200 0 0 0 VPB
port 9 nsew power bidirectional
flabel metal1 s 0 617 3360 666 0 FreeSans 340 0 0 0 VPWR
port 10 nsew power bidirectional
flabel metal1 s 0 0 3360 49 0 FreeSans 340 0 0 0 VGND
port 7 nsew ground bidirectional
flabel locali s 2527 316 2561 350 0 FreeSans 340 0 0 0 S1
port 6 nsew signal input
flabel locali s 223 316 257 350 0 FreeSans 340 0 0 0 A0
port 1 nsew signal input
flabel locali s 319 316 353 350 0 FreeSans 340 0 0 0 A0
port 1 nsew signal input
flabel locali s 415 316 449 350 0 FreeSans 340 0 0 0 A0
port 1 nsew signal input
flabel locali s 31 316 65 350 0 FreeSans 340 0 0 0 A1
port 2 nsew signal input
flabel locali s 127 316 161 350 0 FreeSans 340 0 0 0 A1
port 2 nsew signal input
flabel locali s 1759 316 1793 350 0 FreeSans 340 0 0 0 A2
port 3 nsew signal input
flabel locali s 1855 316 1889 350 0 FreeSans 340 0 0 0 A2
port 3 nsew signal input
flabel locali s 1951 316 1985 350 0 FreeSans 340 0 0 0 A3
port 4 nsew signal input
flabel locali s 2047 316 2081 350 0 FreeSans 340 0 0 0 A3
port 4 nsew signal input
flabel locali s 1471 316 1505 350 0 FreeSans 340 0 0 0 S0
port 5 nsew signal input
flabel locali s 1567 316 1601 350 0 FreeSans 340 0 0 0 S0
port 5 nsew signal input
flabel locali s 1663 316 1697 350 0 FreeSans 340 0 0 0 S0
port 5 nsew signal input
flabel locali s 3295 242 3329 276 0 FreeSans 340 0 0 0 X
port 11 nsew signal output
flabel locali s 3295 316 3329 350 0 FreeSans 340 0 0 0 X
port 11 nsew signal output
<< properties >>
string LEFsite unit
string LEFclass CORE
string FIXED_BBOX 0 0 3360 666
string GDS_FILE $PDKPATH/libs.ref/sky130_fd_sc_hs/gds/sky130_fd_sc_hs.gds
string LEFsymmetry X Y
string GDS_END 541950
string GDS_START 516880
<< end >>
